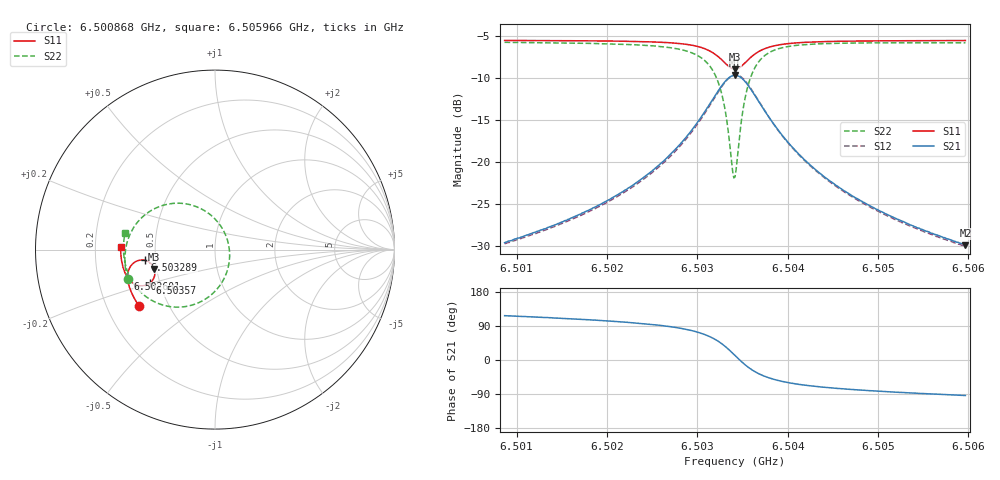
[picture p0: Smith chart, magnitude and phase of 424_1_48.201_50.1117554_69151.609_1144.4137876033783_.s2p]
#  HZ  S  RI  R  50.00
! Rohde & Schwarz Vector Network Analyzer
! Rohde-Schwarz,ZNB20-2Port,1311601062101988,3.16
! Created: UTC 3/20/2024, 11:55:03 AM
! freq[Hz]  re:S11  im:S11  re:S21  im:S21  re:S12  im:S12  re:S22  im:S22
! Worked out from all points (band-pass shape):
!   401 points, 6.500868 GHz to 6.505966 GHz, reference 50 ohm
!   highest |S21| = -9.72 dB at 6.503417 GHz (marker M1); lowest = -30.0 dB at 6.505966 GHz (marker M2)
!   |S21| within 3 dB of the highest: 6.503162 GHz to 6.503672 GHz (510.1 kHz wide, 0.00784 % of centre)
!   lowest |S11| = -9.0 dB at 6.503417 GHz (marker M3), VSWR 2.10, Z = 24.3 - j5.99 ohm
!   |S11| at or under -10 dB: nowhere
!   |S22| runs from -21.9 to -5.8 dB; largest |S21 - S12| = 0.011
!   S11 on the Smith chart (normalised r, x): 6.500868 GHz: 0.34, -0.30; 6.502601 GHz: 0.33, -0.15; 6.503289 GHz: 0.44, -0.06; 6.50357 GHz: 0.44, -0.20; 6.505966 GHz: 0.31, +0.01
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6.5008679e9  -0.4226 -0.314  -0.0149 0.0293  -0.0133 0.0295  -0.487 -0.1622
6.5017218e9  -0.4598 -0.2516  -0.0145 0.0471  -0.012 0.0465  -0.5017 -0.0728
6.5021934e9  -0.4768 -0.2103  -0.0117 0.0663  -0.00868 0.0652  -0.4993 -0.00683
6.5025757e9  -0.486 -0.1686  -0.00297 0.0953  0.00074 0.093  -0.4808 0.0683
6.5026012e9  -0.4864 -0.1652  -0.0018 0.0978  0.0019 0.0957  -0.4784 0.0743
6.5028943e9  -0.4831 -0.1206  0.0251 0.1415  0.0288 0.1371  -0.4228 0.1631
6.5030855e9  -0.4622 -0.0826  0.0783 0.1834  0.0807 0.1772  -0.3209 0.2355
6.5032002e9  -0.4302 -0.0618  0.1467 0.2011  0.1474 0.1948  -0.198 0.2585
6.5032894e9  -0.3901 -0.0599  0.2254 0.1855  0.2256 0.1803  -0.0622 0.2193
6.5033276e9  -0.3709 -0.0672  0.2615 0.1629  0.2623 0.1582  -0.00254 0.1733
6.5033914e9  -0.3444 -0.0934  0.3093 0.0996  0.3117 0.0948  0.0697 0.052
6.5034169e9  -0.3379 -0.1079  0.3195 0.0677  0.3226 0.062  0.0807 -0.00748
6.5034423e9  -0.3348 -0.1234  0.3233 0.0344  0.3267 0.0274  0.0791 -0.0685
6.5035061e9  -0.3417 -0.1605  0.3057 -0.0432  0.3078 -0.053  0.0249 -0.2032
6.5035698e9  -0.3627 -0.1863  0.2633 -0.0972  0.2623 -0.1084  -0.0707 -0.286
6.5036717e9  -0.402 -0.2016  0.1892 -0.1335  0.184 -0.1429  -0.2198 -0.3204
6.5038374e9  -0.4479 -0.192  0.108 -0.1308  0.101 -0.1357  -0.3661 -0.2745
6.5040159e9  -0.4754 -0.1706  0.0637 -0.1108  0.0574 -0.1132  -0.4378 -0.2103
6.5042707e9  -0.496 -0.1407  0.0338 -0.0869  0.0291 -0.0874  -0.4812 -0.1384
6.5046276e9  -0.5109 -0.1035  0.0159 -0.0649  0.0123 -0.0648  -0.5028 -0.0681
6.5051246e9  -0.521 -0.0577  0.00498 -0.0474  0.00273 -0.0468  -0.5098 0.00185
6.5059658e9  -0.526 0.0133  -0.00206 -0.0317  -0.0034 -0.0312  -0.502 0.0899
